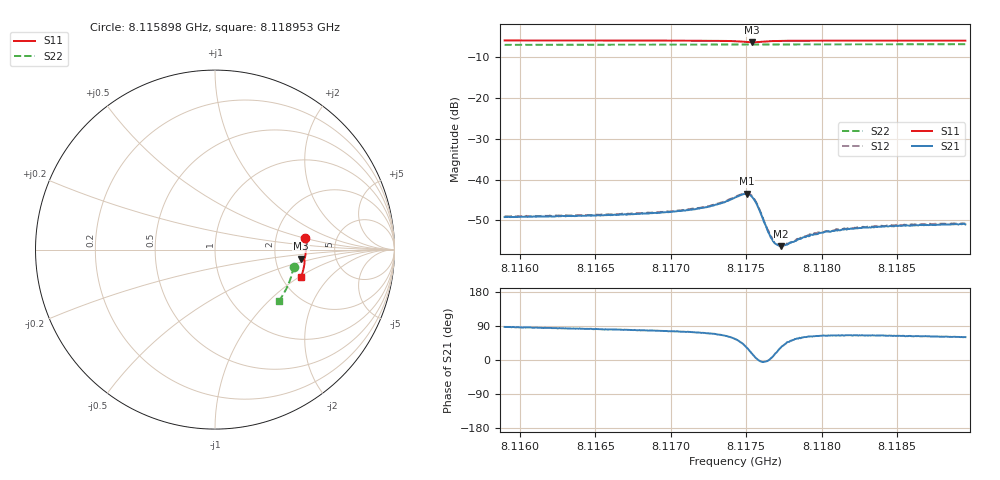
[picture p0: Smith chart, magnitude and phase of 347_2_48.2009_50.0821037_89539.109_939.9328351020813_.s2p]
#  HZ  S  RI  R  50.00
! Rohde & Schwarz Vector Network Analyzer
! Rohde-Schwarz,ZNB20-2Port,1311601062101988,3.16
! Created: UTC 3/20/2024, 11:51:38 AM
! freq[Hz]  re:S11  im:S11  re:S21  im:S21  re:S12  im:S12  re:S22  im:S22
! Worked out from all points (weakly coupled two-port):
!   401 points, 8.115898 GHz to 8.118953 GHz, reference 50 ohm
!   highest |S21| = -43.49 dB at 8.117502 GHz (marker M1); lowest = -56.3 dB at 8.117731 GHz (marker M2)
!   lowest |S11| = -6.3 dB at 8.11754 GHz (marker M3), VSWR 2.86, Z = 140 - j18.6 ohm
!   |S11| at or under -10 dB: nowhere
!   |S22| runs from -7.0 to -6.8 dB; largest |S21 - S12| = 0.00018
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8.1158981e9  0.5031 0.0658  0.000167 0.00347  0.000241 0.00353  0.4381 -0.0942
8.1164097e9  0.506 0.0273  0.000458 0.00355  0.000508 0.00363  0.4308 -0.1289
8.1169214e9  0.5056 -0.0119  0.000889 0.00381  0.000959 0.00388  0.4205 -0.163
8.1170741e9  0.5048 -0.024  0.00108 0.00401  0.00113 0.00408  0.417 -0.173
8.1172421e9  0.5025 -0.0383  0.00153 0.00436  0.00161 0.0044  0.4126 -0.1841
8.1173414e9  0.4995 -0.0478  0.00215 0.0047  0.00223 0.00477  0.4098 -0.1905
8.1174254e9  0.4935 -0.056  0.00339 0.00499  0.00352 0.00506  0.4073 -0.1959
8.1175018e9  0.4823 -0.0573  0.00559 0.00368  0.00572 0.00373  0.4046 -0.2004
8.1175247e9  0.4796 -0.0538  0.00595 0.00251  0.00607 0.00253  0.4041 -0.2017
8.1175399e9  0.4791 -0.051  0.00587 0.00164  0.00601 0.00167  0.4036 -0.2024
8.1175705e9  0.4823 -0.0462  0.00496 0.00027  0.00508 0.000191  0.4031 -0.2042
8.1176392e9  0.4931 -0.0478  0.00243 -0.000123  0.00248 -0.000137  0.4016 -0.2084
8.1176698e9  0.4958 -0.0512  0.00186 0.000211  0.00193 0.0002  0.4008 -0.2105
8.1177003e9  0.4973 -0.0548  0.00152 0.00054  0.00152 0.000556  0.4 -0.2125
8.1177308e9  0.4982 -0.0581  0.00128 0.000837  0.00133 0.000859  0.3992 -0.2145
8.117769e9  0.4989 -0.0622  0.0011 0.00115  0.00117 0.00116  0.3978 -0.2169
8.1178225e9  0.499 -0.0674  0.001 0.00145  0.00104 0.00146  0.3962 -0.2205
8.117937e9  0.4982 -0.0776  0.000989 0.00185  0.000994 0.00189  0.3925 -0.2275
8.1180287e9  0.4974 -0.0851  0.00101 0.00208  0.00104 0.00209  0.3895 -0.2333
8.1181127e9  0.4964 -0.0919  0.00102 0.00219  0.00106 0.00221  0.3868 -0.2384
8.1184487e9  0.4909 -0.1173  0.00115 0.00243  0.00122 0.00247  0.3746 -0.2587
8.1189527e9  0.4805 -0.1538  0.00139 0.00245  0.00146 0.00252  0.3545 -0.2878
